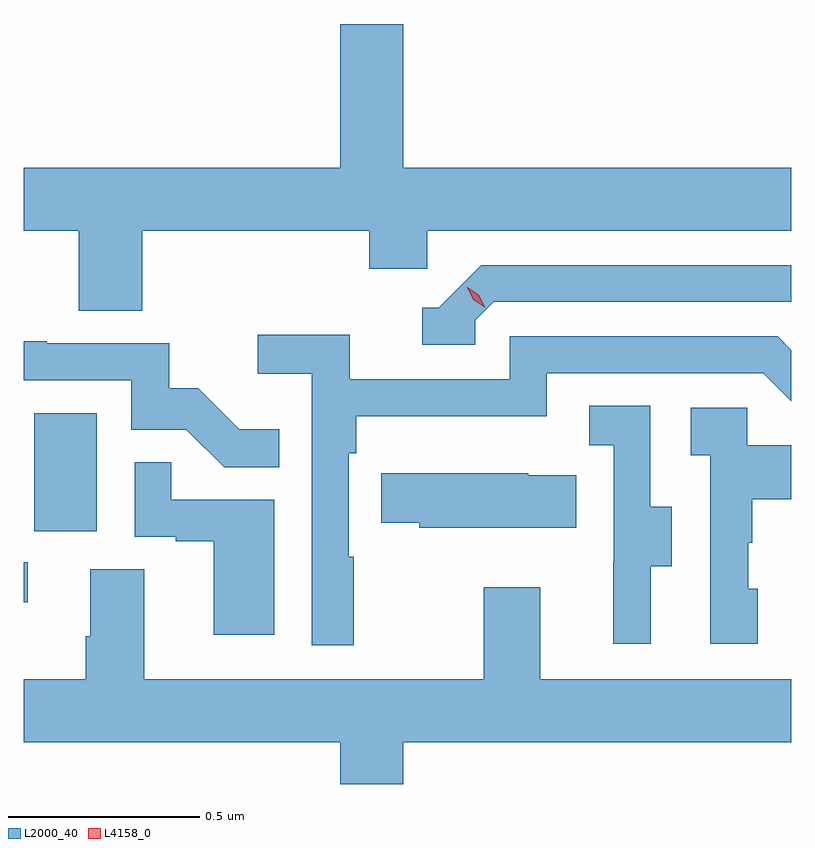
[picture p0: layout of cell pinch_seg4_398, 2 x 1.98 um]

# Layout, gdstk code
import gdstk
lib = gdstk.Library(unit=1e-6, precision=1e-09)
def R(c, l, rs):  # rectangles x0, y0, x1, y1
    for r in rs: c.add(gdstk.rectangle(r[:2], r[2:], *l))
def P(c, l, *ps):  # polygons
    for p in ps: c.add(gdstk.Polygon(p, *l))
L2000_40 = (2000, 40)
L4158_0 = (4158, 0)

pinch_seg4_398 = lib.new_cell('pinch_seg4_398')
R(pinch_seg4_398, L2000_40, [(955.391,787.86,955.402,787.965), (955.418,788.046,955.582,788.353)])
P(pinch_seg4_398, L2000_40, [(955.7,788.828),(956.291,788.828),(956.291,788.73),(956.442,788.73),(956.442,788.828),(957.391,788.828),(957.391,788.992),(956.38,788.992),(956.38,789.367),(956.216,789.367),(956.216,788.992),(955.391,788.992),(955.391,788.828),(955.535,788.828),(955.535,788.62),(955.7,788.62)],
  [(956.568,788.595),(956.616,788.643),(957.391,788.643),(957.391,788.739),(956.583,788.739),(956.472,788.628),(956.429,788.628),(956.429,788.532),(956.568,788.532)],
  [(956.251,787.979),(956.238,787.979),(956.238,788.249),(956.258,788.249),(956.258,788.345),(956.754,788.345),(956.754,788.457),(957.318,788.457),(957.391,788.384),(957.391,788.517),(957.355,788.553),(956.658,788.553),(956.658,788.442),(956.24,788.442),(956.24,788.558),(956.001,788.558),(956.001,788.456),(956.142,788.456),(956.142,787.749),(956.251,787.749)],
  [(956.057,788.311),(955.953,788.311),(955.846,788.418),(955.77,788.418),(955.77,788.535),(955.451,788.535),(955.451,788.54),(955.391,788.54),(955.391,788.439),(955.671,788.439),(955.671,788.31),(955.815,788.31),(955.913,788.212),(956.057,788.212)],
  [(957.025,787.954),(957.079,787.954),(957.079,788.109),(957.024,788.109),(957.024,788.372),(956.865,788.372),(956.865,788.269),(956.928,788.269),(956.928,787.965),(956.927,787.965),(956.927,787.752),(957.025,787.752)],
  [(957.304,787.896),(957.279,787.896),(957.279,788.015),(957.289,788.015),(957.289,788.129),(957.391,788.129),(957.391,788.269),(957.276,788.269),(957.276,788.367),(957.129,788.367),(957.129,788.243),(957.18,788.243),(957.18,787.752),(957.304,787.752)],
  [(956.044,788.127),(955.775,788.127),(955.775,788.225),(955.68,788.225),(955.68,788.031),(955.787,788.031),(955.787,788.019),(955.886,788.019),(955.886,787.776),(956.044,787.776)],
  [(956.831,788.191),(956.706,788.191),(956.706,788.197),(956.323,788.197),(956.323,788.068),(956.421,788.068),(956.421,788.054),(956.831,788.054)],
  [(956.38,787.496),(957.391,787.496),(957.391,787.66),(956.737,787.66),(956.737,787.9),(956.59,787.9),(956.59,787.66),(955.705,787.66),(955.705,787.946),(955.565,787.946),(955.565,787.772),(955.553,787.772),(955.553,787.66),(955.391,787.66),(955.391,787.496),(956.216,787.496),(956.216,787.387),(956.38,787.387)])
P(pinch_seg4_398, L4158_0, [(956.592,788.629),(956.562,788.649),(956.546,788.682),(956.546,788.682),(956.546,788.682),(956.577,788.662),(956.592,788.63),(956.592,788.629)])

lib.write_gds('pinch_seg4_398.gds')
